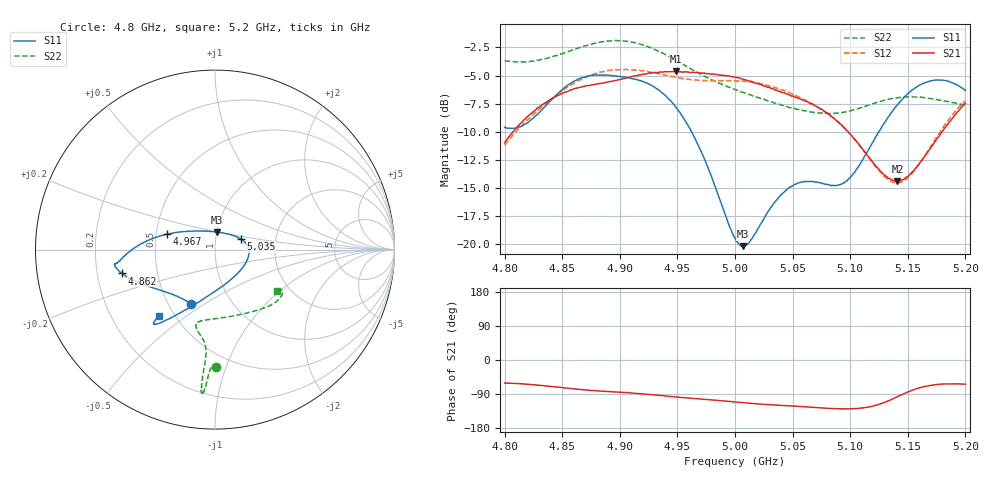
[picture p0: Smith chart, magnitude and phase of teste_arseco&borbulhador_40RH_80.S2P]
! Network Analyzer HP8722D
! Hewlett-Packard
! Data name: Linha & Wilkinson
! Saver's name: Rodrigo Anjos
! Comments: Teste da utilização de aquisição
! continua pelo VNA HP8722D
! Time and date: 15/4/2025 17:01
!  Frequency  S11  S21  S12  S22
# HZ  S  MA R 50
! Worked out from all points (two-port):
!   401 points, 4.8 GHz to 5.2 GHz, reference 50 ohm
!   highest |S21| = -4.64 dB at 4.949 GHz (marker M1); lowest = -14.4 dB at 5.141 GHz (marker M2)
!   |S21| within 3 dB of the highest: 4.832 GHz to 5.069 GHz (236.8 MHz wide, 4.78 % of centre); 5.198336 GHz to end of sweep
!   lowest |S11| = -20.2 dB at 5.007 GHz (marker M3), VSWR 1.22, Z = 50.3 + j9.87 ohm
!   |S11| at or under -10 dB: 4.962 GHz to 5.125 GHz (162.7 MHz wide, 3.23 % of centre)
!   |S22| runs from -8.4 to -1.9 dB; largest |S21 - S12| = 0.88
!   S11 on the Smith chart (normalised r, x): 4.8 GHz: 0.65, -0.44; 4.862 GHz: 0.31, -0.11; 4.967 GHz: 0.57, +0.11; 5.035 GHz: 1.32, +0.16; 5.2 GHz: 0.41, -0.40
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4.8e9  0.3307 -113.8  0.2826 -60.7  0.276 -175.0  0.6535 -89.5
4.819e9  0.3446 -133.6  0.366 -63.8  0.3541 -173.3  0.6483 -91.2
4.862e9  0.5358 -165.6  0.4945 -76.5  0.5266 -176.4  0.7398 -93.6
4.867e9  0.5497 -167.6  0.5005 -78.2  0.5422 -177.4  0.7545 -93.7
4.9e9  0.5573 -172.1  0.5398 -84.9  0.597 176.0  0.8029 -95.1
4.934e9  0.4845 -178.0  0.5808 -93.4  0.5738 172.0  0.7203 -95.6
4.949e9  0.4044 175.0  0.586 -97.3  0.5518 172.3  0.6563 -95.3
4.967e9  0.2831 162.5  0.5802 -102.1  0.5359 174.0  0.5807 -94.9
5e9  0.1065 106.9  0.5519 -110.9  0.5337 176.4  0.4877 -99.2
5.007e9  0.09803 82.7  0.5408 -112.5  0.5301 176.4  0.4728 -100.9
5.014e9  0.1048 60.7  0.5302 -114.6  0.5266 176.1  0.46 -102.5
5.035e9  0.1547 22.6  0.4845 -119.0  0.4962 175.1  0.4226 -103.8
5.05e9  0.1819 6.8  0.4566 -121.5  0.4646 174.4  0.4017 -100.3
5.067e9  0.1901 -11.5  0.42 -124.6  0.4217 173.9  0.3865 -92.0
5.086e9  0.1823 -41.9  0.3634 -128.3  0.3615 173.6  0.3817 -77.7
5.097e9  0.1909 -65.1  0.3208 -129.1  0.3199 174.6  0.3884 -68.5
5.134e9  0.374 -116.1  0.1957 -106.7  0.1918 -159.5  0.4419 -43.4
5.141e9  0.4169 -120.1  0.1907 -96.9  0.1874 -148.5  0.4479 -40.2
5.153e9  0.4817 -124.9  0.2073 -80.8  0.2046 -130.0  0.452 -35.9
5.17e9  0.5326 -128.6  0.2686 -66.8  0.2732 -113.0  0.4443 -32.1
5.184e9  0.5321 -129.9  0.339 -63.0  0.3496 -107.2  0.4315 -31.1
5.2e9  0.4823 -130.4  0.4235 -64.0  0.4346 -106.1  0.4155 -33.4
